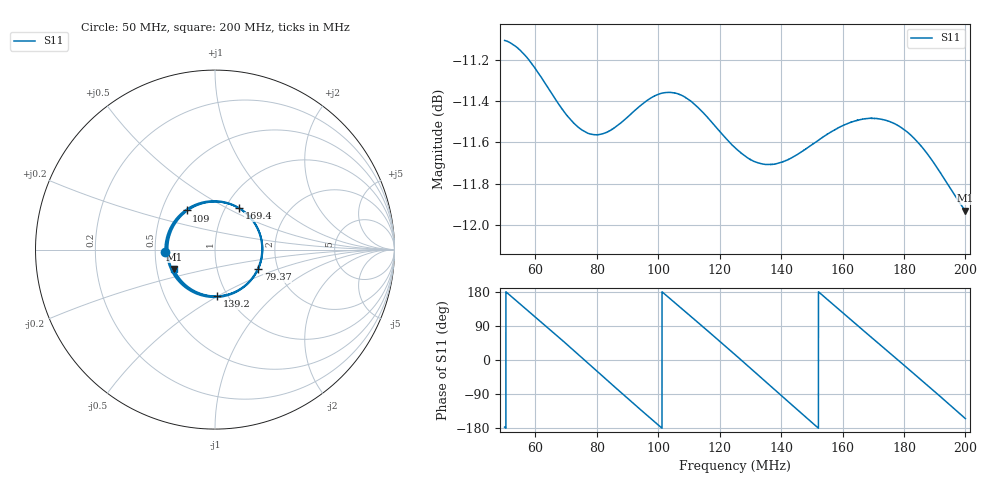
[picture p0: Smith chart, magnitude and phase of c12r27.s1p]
! COPPER MOUNTAIN TECHNOLOGIES, PLANAR TR1300/1, 00071119, 20.2.2/1.0
! Date: 11/21/2023 7:00:11 PM
! Data: Format [Calibration Info]
! Freq  S11: Re/Im F1
# HZ S RI R 50
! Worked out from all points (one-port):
!   12288 points, 50 MHz to 200 MHz, reference 50 ohm
!   lowest |S11| = -11.9 dB at 200 MHz (marker M1), VSWR 1.68, Z = 30.8 - j7.12 ohm
!   |S11| at or under -10 dB: start of sweep to end of sweep
!   S11 on the Smith chart (normalised r, x): 50 MHz: 0.56, -0.02; 79.37 MHz: 1.58, -0.37; 109 MHz: 0.67, +0.31; 139.2 MHz: 0.89, -0.50; 169.4 MHz: 1.16, +0.57; 200 MHz: 0.62, -0.14
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5e7  -0.2781 -0.0142
5.479775e7  -0.2393 0.1396
6.027916e7  -0.1014 0.2545
6.446651e7  0.0358 0.2686
6.875153e7  0.1647 0.2114
7.420851e7  0.2584 0.0595
7.937251e7  0.2407 -0.1089
8.750305e7  0.0322 -0.2638
9.234964e7  -0.1241 -0.2373
9.781883e7  -0.2466 -0.1091
1.01994e8  -0.2693 0.0246
1.062546e8  -0.2221 0.1541
1.09038e8  -0.1584 0.2182
1.165704e8  0.075 0.2557
1.250061e8  0.2542 0.0644
1.313787e8  0.2224 -0.1352
1.391674e8  0.0124 -0.2597
1.437576e8  -0.1312 -0.2255
1.485554e8  -0.2365 -0.1132
1.529259e8  -0.2624 0.0246
1.573452e8  -0.2131 0.1572
1.625092e8  -0.0801 0.2536
1.693945e8  0.1342 0.2304
1.755595e8  0.2542 0.0785
1.812607e8  0.2446 -0.1006
1.862171e8  0.1433 -0.2195
1.905876e8  0.0111 -0.2592
2e8  -0.2288 -0.1083
